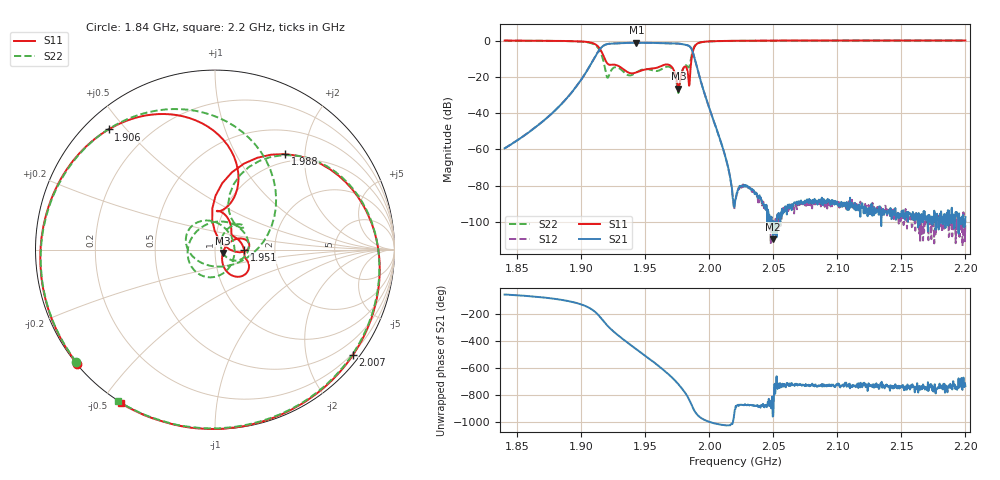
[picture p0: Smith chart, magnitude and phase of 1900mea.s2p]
! 4/14/2023 22:39:13
! D:\FILTER\1900M2.S2P
! CHANNEL.1
! TR.MEASUREMENT
! CORRECTED.DATA
# GHZ S RI R 50.0
! FREQ.GHZ  S11RE  S11IM  S21RE  S21IM  S12RE  S12IM  S22RE  S22IM
!; PortSelection: Port_12
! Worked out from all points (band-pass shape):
!   948 points, 1.84 GHz to 2.2 GHz, reference 50 ohm
!   highest |S21| = -1.25 dB at 1.943 GHz (marker M1); lowest = -109.6 dB at 2.05 GHz (marker M2)
!   |S21| within 3 dB of the highest: 1.915 GHz to 1.986 GHz (70.6 MHz wide, 3.62 % of centre)
!   lowest |S11| = -26.5 dB at 1.976 GHz (marker M3), VSWR 1.10, Z = 54.5 - j2.02 ohm
!   |S11| at or under -10 dB: 1.918 GHz to 1.986 GHz (67.82 MHz wide, 3.47 % of centre)
!   |S22| runs from -29.0 to 0.0 dB; largest |S21 - S12| = 0.0027
!   S11 on the Smith chart (normalised r, x): 1.84 GHz: 0.00, -0.36; 1.906 GHz: 0.07, +0.45; 1.951 GHz: 1.39, -0.01; 1.988 GHz: 0.86, +1.63; 2.007 GHz: 0.16, -2.95; 2.2 GHz: -0.00, -0.56
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1.84014  -0.7683 -0.635  0.000624 -0.000862  0.000629 -0.000865  -0.7732 -0.6255
1.87586  -0.9552 -0.2309  0.00131 -0.00882  0.00129 -0.00884  -0.9557 -0.2183
1.90018  -0.8337 0.435  -0.0523 -0.0673  -0.0526 -0.0674  -0.7902 0.4901
1.90626  -0.5932 0.6693  -0.1663 -0.0855  -0.1667 -0.0852  -0.4738 0.7327
1.91462  0.0697 0.5826  -0.4493 0.3668  -0.4491 0.366  0.3253 0.3942
1.92032  0.0538 0.2279  0.179 0.7764  0.1787 0.7771  0.00525 -0.0946
1.93058  0.0752 0.1683  0.835 -0.1407  0.8343 -0.1405  -0.0271 0.1607
1.94312  0.114 0.0672  -0.1437 -0.8544  -0.1424 -0.8544  0.0656 -0.1153
1.95148  0.1626 -0.00413  -0.7979 -0.3266  -0.798 -0.3264  -0.1195 -0.1104
1.96022  0.1748 -0.055  -0.64 0.5654  -0.6388 0.5642  -0.0528 0.1371
1.9682  0.1626 -0.1415  0.2159 0.807  0.2142 0.8055  0.1876 0.0324
1.9758  0.0436 -0.0185  0.8226 0.0373  0.8214 0.0379  0.0349 0.00698
1.98264  0.1601 -0.0119  0.0806 -0.7411  0.0817 -0.7395  0.1567 0.1215
1.98568  -0.0147 0.2297  -0.484 -0.392  -0.4831 -0.3913  0.0825 0.3098
1.98834  0.3904 0.5319  -0.3305 0.0823  -0.3293 0.0821  0.4492 0.5241
1.99404  0.9007 0.0505  -0.0206 0.059  -0.0205 0.0586  0.899 0.0617
2.00734  0.7692 -0.5866  0.00101 0.0022  0.000991 0.00219  0.7721 -0.5743
2.02026  0.5505 -0.8141  -3.82e-05 2.3e-06  -3.81e-05 -4.8e-06  0.5491 -0.81
2.0499  0.1897 -0.9771  -1.9e-06 2.7e-06  3.3e-06 4.1e-06  0.176 -0.9761
2.0803  -0.0463 -0.9985  3.46e-05 3.9e-06  2.33e-05 -2.2e-06  -0.0653 -0.9949
2.14034  -0.3374 -0.943  1.76e-05 -5.1e-06  2.14e-05 -1.6e-06  -0.3572 -0.9336
2.2  -0.525 -0.8548  1.32e-05 -2.9e-06  2e-07 -1.08e-05  -0.5421 -0.8424
